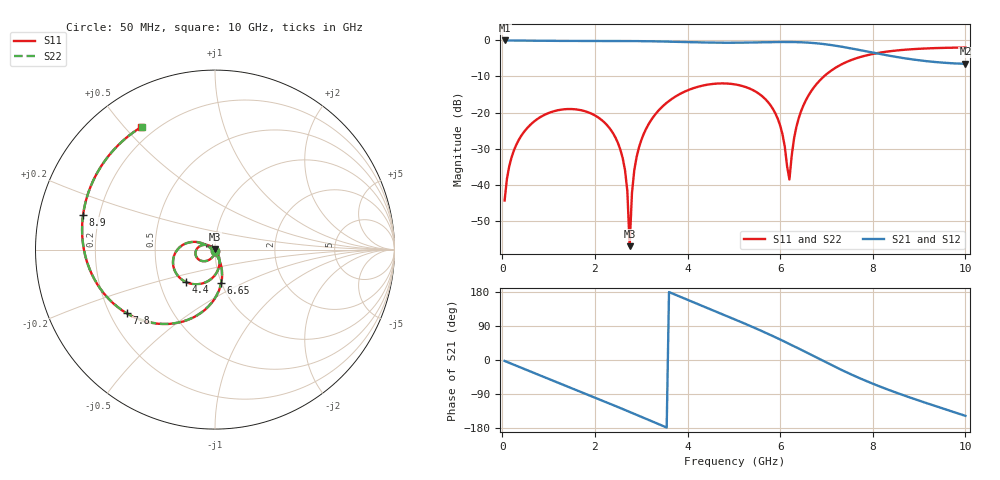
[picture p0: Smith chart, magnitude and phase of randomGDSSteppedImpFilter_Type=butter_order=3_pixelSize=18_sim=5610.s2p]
! freq	dB(S11)	phase(S11)	dB(S12)	phase(S12)
!  dB(S21)	phase(S21)	dB(S22)	phase(S22)
!S-par simulation data
#  GHz  S  DB  R 50
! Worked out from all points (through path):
!   200 points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, 50 MHz to 10 GHz, reference 50 ohm
!   highest |S21| = 0.00 dB at 50 MHz (marker M1); lowest = -6.5 dB at 10 GHz (marker M2)
!   group delay of S21, straight-line fit = 146 ps
!   lowest |S11| = -57.1 dB at 2.75 GHz (marker M3), VSWR 1.00, Z = 50.1 + j0.121 ohm
!   |S11| at or under -10 dB: start of sweep to 6.944 GHz
!   |S22| runs from -56.6 to -2.0 dB; largest |S21 - S12| = 0
!   S11 on the Smith chart (normalised r, x): 50 MHz: 1.00, -0.01; 4.4 GHz: 0.68, -0.26; 6.65 GHz: 1.00, -0.38; 7.8 GHz: 0.27, -0.30; 8.9 GHz: 0.14, +0.13; 10 GHz: 0.15, +0.56
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0.05  -44.40 -91.9  -0.00 -2.5  -0.00 -2.5  -44.40 -91.9
0.2  -32.43 -99.8  -0.02 -10.0  -0.02 -10.0  -32.43 -99.9
0.55  -24.14 -117.7  -0.06 -27.5  -0.06 -27.5  -24.14 -117.8
1.75  -19.51 -177.5  -0.15 -86.7  -0.15 -86.7  -19.51 -177.6
2.55  -30.32 142.3  -0.16 -126.8  -0.16 -126.8  -30.33 141.6
2.7  -41.71 134.3  -0.16 -134.4  -0.16 -134.4  -41.72 131.4
2.75  -57.07 59.9  -0.17 -137.0  -0.17 -137.0  -56.60 57.3
2.8  -42.34 -49.6  -0.17 -139.6  -0.17 -139.6  -42.28 -46.3
2.9  -32.34 -55.1  -0.18 -144.7  -0.18 -144.7  -32.33 -54.1
3.4  -19.09 -80.9  -0.27 -170.5  -0.27 -170.5  -19.08 -80.6
4.4  -12.33 -131.2  -0.57 138.6  -0.57 138.6  -12.33 -131.1
5.05  -12.24 -163.4  -0.63 105.6  -0.63 105.6  -12.24 -163.2
5.85  -19.13 157.4  -0.46 62.7  -0.46 62.7  -19.12 157.8
6.05  -26.02 152.9  -0.43 51.2  -0.43 51.2  -25.98 153.9
6.2  -38.58 -118.9  -0.43 42.3  -0.43 42.3  -37.97 -120.5
6.35  -24.02 -67.6  -0.46 33.2  -0.46 33.2  -24.00 -68.5
6.65  -14.47 -79.3  -0.64 14.8  -0.64 14.8  -14.47 -79.7
6.7  -13.52 -82.1  -0.69 11.6  -0.69 11.6  -13.52 -82.4
7.8  -4.35 -144.1  -2.88 -52.4  -2.88 -52.4  -4.35 -144.3
8.35  -3.02 -170.8  -4.22 -79.1  -4.22 -79.1  -3.02 -170.9
8.9  -2.38 165.3  -5.34 -103.1  -5.34 -103.1  -2.38 165.2
10  -1.97 121.1  -6.48 -147.3  -6.48 -147.3  -1.97 120.9
